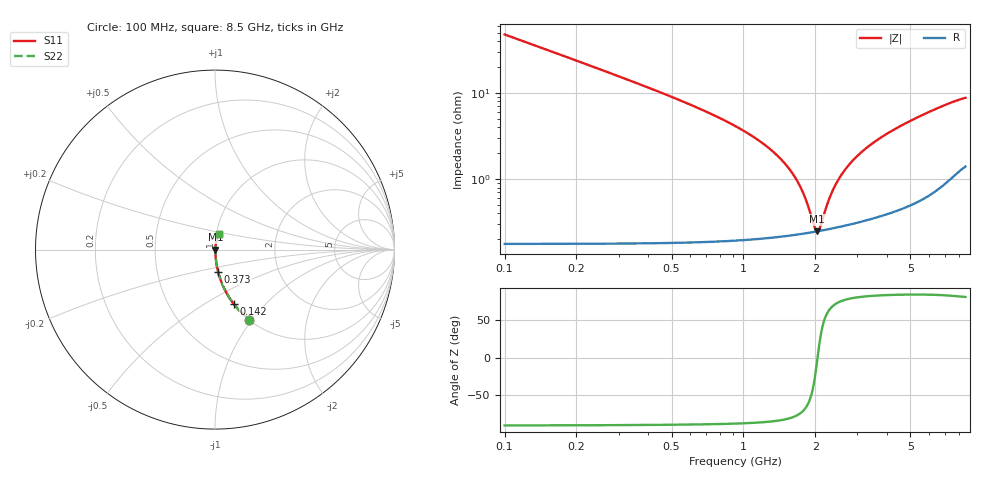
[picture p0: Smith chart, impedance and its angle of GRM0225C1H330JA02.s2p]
!Murata Part Number: GRM0225C1H330JA02
!These Parameters are Measured in Series Mode Connection
!Data Generated on Mar 30, 2021
!  o--ll--o
!Port1  Port2
!  o------o
!Operation Temp=25[degC], DC Bias Voltage=0[V]
!Freq. Start=100[MHz] Stop=9[GHz] 401[Steps]
# Hz S RI R 50
!Freq.(Hz) S11(Real) S11(Imag) S21(Real) S21(Imag) S12(Real) S12(Imag) S22(Real) S22(Imag)
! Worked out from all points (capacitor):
!   401 points, 100 MHz to 8.5 GHz, reference 50 ohm
!   read as one part in series: C = 33 pF near 142 MHz
!   lowest |Z| = 248 mohm at 2.032 GHz (marker M1)
!   series resonance near 2.043 GHz, so ESL is about 180 pH
!   S11 on the Smith chart (normalised r, x): 100 MHz: 1.00, -0.96; 142 MHz: 1.00, -0.68; 373 MHz: 1.00, -0.25; 8.5 GHz: 1.03, +0.17
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1e8  0.1889 -0.3896  0.8111 0.3896  0.8111 0.3896  0.1889 -0.3896
1.42e8  0.1038 -0.3024  0.8962 0.3024  0.8962 0.3024  0.1038 -0.3024
1.84e8  0.0648 -0.2427  0.9352 0.2427  0.9352 0.2427  0.0648 -0.2427
2.47e8  0.0373 -0.1849  0.9627 0.1849  0.9627 0.1849  0.0373 -0.1849
3.73e8  0.0171 -0.1226  0.9829 0.1226  0.9829 0.1226  0.0171 -0.1226
6.46e8  0.0063 -0.0666  0.9937 0.0666  0.9937 0.0666  0.0063 -0.0666
1.276e9  0.00259 -0.0229  0.9974 0.0229  0.9974 0.0229  0.00259 -0.0229
1.507e9  0.00238 -0.0145  0.9976 0.0145  0.9976 0.0145  0.00238 -0.0145
1.738e9  0.00235 -0.00758  0.9976 0.00758  0.9976 0.00758  0.00235 -0.00758
1.843e9  0.00238 -0.00481  0.9976 0.00481  0.9976 0.00481  0.00238 -0.00481
1.969e9  0.00243 -0.00172  0.9976 0.00172  0.9976 0.00172  0.00243 -0.00172
2.032e9  0.00246 -0.000245  0.9975 0.000245  0.9975 0.000245  0.00246 -0.000245
2.095e9  0.0025 0.00118  0.9975 -0.00118  0.9975 -0.00118  0.0025 0.00118
2.263e9  0.00263 0.00478  0.9974 -0.00478  0.9974 -0.00478  0.00263 0.00478
2.431e9  0.00278 0.00814  0.9972 -0.00814  0.9972 -0.00814  0.00278 0.00814
2.641e9  0.003 0.0121  0.997 -0.0121  0.997 -0.0121  0.003 0.0121
2.914e9  0.00333 0.0168  0.9967 -0.0168  0.9967 -0.0168  0.00333 0.0168
3.502e9  0.00417 0.0261  0.9958 -0.0261  0.9958 -0.0261  0.00417 0.0261
4.3e9  0.00559 0.0375  0.9944 -0.0375  0.9944 -0.0375  0.00559 0.0375
5.707e9  0.00904 0.0557  0.991 -0.0557  0.991 -0.0557  0.00904 0.0557
7.114e9  0.0144 0.072  0.9856 -0.072  0.9856 -0.072  0.0144 0.072
8.5e9  0.0211 0.0842  0.9789 -0.0842  0.9789 -0.0842  0.0211 0.0842
